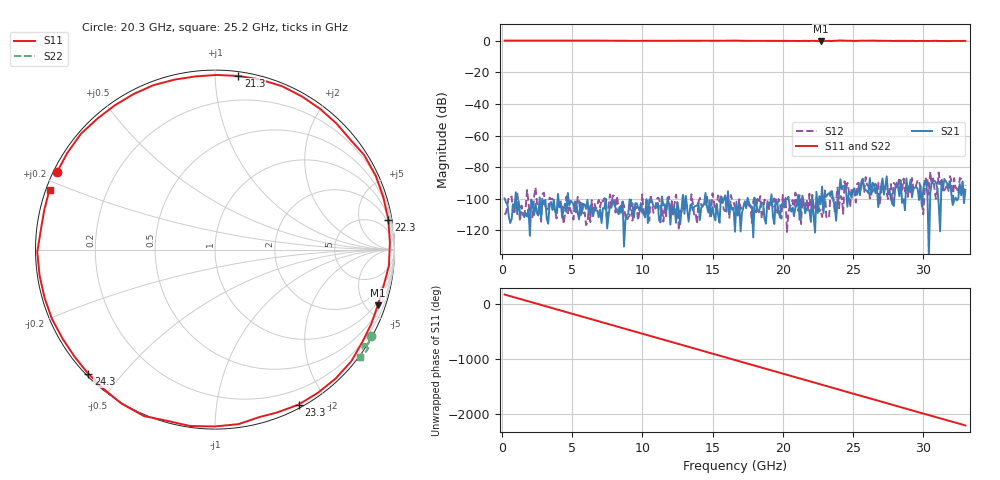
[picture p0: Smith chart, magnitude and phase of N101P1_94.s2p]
# GHZ S RI R 50
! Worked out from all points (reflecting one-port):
!   329 points, 200 MHz to 33 GHz, reference 50 ohm
!   lowest |S11| = -0.4 dB at 22.7 GHz (marker M1), VSWR 47.39, Z = 38.8 - j297 ohm
!   phase of S11 starts at 165 deg and turns -2367 deg over the sweep
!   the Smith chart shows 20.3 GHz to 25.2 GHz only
!   S11 on the Smith chart (normalised r, x): 20.3 GHz: 0.01, +0.23; 21.3 GHz: 0.03, +1.14; 22.3 GHz: 1, +11; 23.3 GHz: 0.04, -1.68; 24.3 GHz: 0.01, -0.41; 25.2 GHz: 0.01, +0.18
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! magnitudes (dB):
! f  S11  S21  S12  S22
! 200 MHz  0.0  -99.7  -110.2  0.0
! 5.7 GHz  -0.1  -109.1  -101.5  0.0
! 11.2 GHz  -0.1  -113.7  -99.8  -0.1
! 16.6 GHz  0.0  -120.8  -104.9  0.0
! 20.3 GHz  -0.2  -100.4  -120.9  -0.1
! 21.3 GHz  -0.2  -104.1  -115.9  -0.1
! 22.1 GHz  -0.1  -98.1  -97.5  0.0
! 22.3 GHz  -0.2  -121.3  -105.9  0.0
! 22.7 GHz  -0.4  -103.5  -106.8  -0.2
! 23.3 GHz  -0.2  -96.4  -111.9  0.0
! 23.5 GHz  -0.3  -95.1  -99.5  -0.2
! 24 GHz  0.1  -97.3  -105.9  0.1
! 24.3 GHz  -0.1  -91.9  -109.5  0.1
! 25.2 GHz  -0.2  -97.5  -102.4  0.0
! 26.6 GHz  -0.1  -96.4  -90.5  -0.1
! 27.6 GHz  -0.1  -95.1  -94.8  0.0
! 28.7 GHz  -0.3  -107.2  -95.2  -0.2
! 29.2 GHz  -0.2  -99.0  -86.8  -0.1
! 31.2 GHz  -0.2  -120.6  -90.8  -0.1
! 31.8 GHz  -0.3  -93.6  -95.0  -0.3
! 32.1 GHz  -0.2  -103.9  -103.3  0.0
! 33 GHz  -0.2  -94.5  -91.2  -0.1
